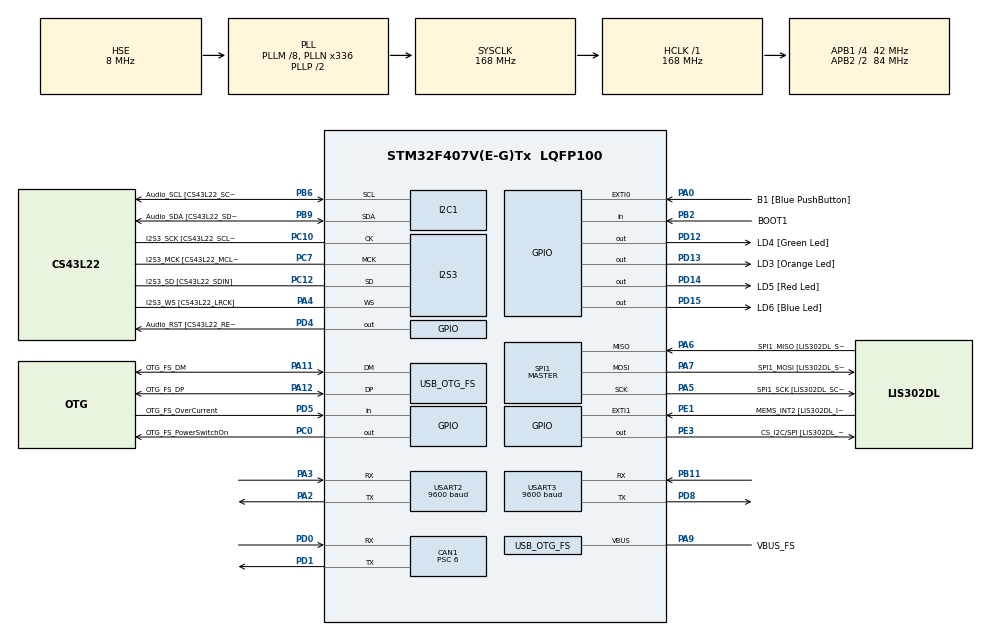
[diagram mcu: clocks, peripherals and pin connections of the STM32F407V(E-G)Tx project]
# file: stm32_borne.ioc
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CAN1.BS1=CAN_BS1_11TQ
CAN1.BS2=CAN_BS2_2TQ
CAN1.CalculateBaudRate=500000
CAN1.CalculateTimeBit=2000
CAN1.CalculateTimeQuantum=142.85714285714286
CAN1.Mode=CAN_MODE_NORMAL
CAN1.Prescaler=6
I2S3.AudioFreq-Half_Duplex_Master=I2S_AUDIOFREQ_96K
I2S3.ErrorAudioFreq=-2.34 %
I2S3.ErrorAudioFreq-Half_Duplex_Master=0.8 %
I2S3.FullDuplexMode=I2S_FULLDUPLEXMODE_DISABLE
I2S3.Instance=SPI$Index
I2S3.RealAudioFreq=93.75 KHz
I2S3.RealAudioFreq-Half_Duplex_Master=96.774 KHz
I2S3.VirtualMode=I2S_MODE_MASTER
Mcu.Family=STM32F4
Mcu.Name=STM32F407V(E-G)Tx
Mcu.Package=LQFP100
NVIC.CAN1_RX0_IRQn=true\:0\:0\:false\:false\:true\:true\:true\:true
NVIC.OTG_FS_IRQn=true\:0\:0\:false\:false\:true\:true\:true\:true
NVIC.PriorityGroup=NVIC_PRIORITYGROUP_0
NVIC.USART2_IRQn=true\:0\:0\:false\:false\:true\:true\:true\:true
NVIC.USART3_IRQn=true\:0\:0\:false\:false\:true\:true\:true\:true
PA0-WKUP.GPIO_Label=B1 [Blue PushButton]
PA0-WKUP.GPIO_ModeDefaultEXTI=GPIO_MODE_EVT_RISING
PA0-WKUP.GPIO_PuPd=GPIO_NOPULL
PA0-WKUP.Signal=GPXTI0
PA10.GPIO_Label=OTG_FS_ID
PA10.GPIO_Mode=GPIO_MODE_AF_PP
PA10.GPIO_PuPd=GPIO_NOPULL
PA10.GPIO_Speed=GPIO_SPEED_FREQ_LOW
PA10.Signal=USB_OTG_FS_ID
PA11.GPIO_Label=OTG_FS_DM
PA11.GPIO_Mode=GPIO_MODE_AF_PP
PA11.GPIO_PuPd=GPIO_NOPULL
PA11.GPIO_Speed=GPIO_SPEED_FREQ_LOW
PA11.Mode=Host_Only
PA11.Signal=USB_OTG_FS_DM
PA12.GPIO_Label=OTG_FS_DP
PA12.GPIO_Mode=GPIO_MODE_AF_PP
PA12.GPIO_PuPd=GPIO_NOPULL
PA12.GPIO_Speed=GPIO_SPEED_FREQ_LOW
PA12.Mode=Host_Only
PA12.Signal=USB_OTG_FS_DP
PA13.GPIO_Label=SWDIO
PA13.Mode=Serial_Wire
PA13.Signal=SYS_JTMS-SWDIO
PA14.GPIO_Label=SWCLK
PA14.Mode=Serial_Wire
PA14.Signal=SYS_JTCK-SWCLK
PA2.Mode=Asynchronous
PA2.Signal=USART2_TX
PA3.Mode=Asynchronous
PA3.Signal=USART2_RX
PA4.GPIO_Label=I2S3_WS [CS43L22_LRCK]
PA4.GPIO_Mode=GPIO_MODE_AF_PP
PA4.GPIO_PuPd=GPIO_NOPULL
PA4.GPIO_Speed=GPIO_SPEED_FREQ_LOW
PA4.Mode=Half_Duplex_Master
PA4.Signal=I2S3_WS
PA5.GPIO_Label=SPI1_SCK [LIS302DL_SCL/SPC]
PA5.GPIO_Mode=GPIO_MODE_AF_PP
PA5.GPIO_PuPd=GPIO_NOPULL
PA5.GPIO_Speed=GPIO_SPEED_FREQ_LOW
PA5.Mode=Full_Duplex_Master
PA5.Signal=SPI1_SCK
PA6.GPIO_Label=SPI1_MISO [LIS302DL_SDO]
PA6.GPIO_Mode=GPIO_MODE_AF_PP
PA6.GPIO_PuPd=GPIO_NOPULL
PA6.GPIO_Speed=GPIO_SPEED_FREQ_LOW
PA6.Mode=Full_Duplex_Master
PA6.Signal=SPI1_MISO
PA7.GPIO_Label=SPI1_MOSI [LIS302DL_SDA/SDI/SDO]
PA7.GPIO_Mode=GPIO_MODE_AF_PP
PA7.GPIO_PuPd=GPIO_NOPULL
PA7.GPIO_Speed=GPIO_SPEED_FREQ_LOW
PA7.Mode=Full_Duplex_Master
PA7.Signal=SPI1_MOSI
PA9.GPIO_Label=VBUS_FS
PA9.GPIO_Mode=GPIO_MODE_INPUT
PA9.GPIO_PuPd=GPIO_NOPULL
PA9.Mode=Activate_VBUS
PA9.Signal=USB_OTG_FS_VBUS
PB10.GPIO_Label=CLK_IN [MP45DT02_CLK]
PB10.GPIO_Mode=GPIO_MODE_AF_PP
PB10.GPIO_PuPd=GPIO_NOPULL
PB10.GPIO_Speed=GPIO_SPEED_FREQ_LOW
PB10.Signal=I2S2_CK
PB11.Mode=Asynchronous
PB11.Signal=USART3_RX
PB2.GPIO_Label=BOOT1
PB2.GPIO_Mode=GPIO_MODE_INPUT
PB2.GPIO_PuPd=GPIO_NOPULL
PB2.Signal=GPIO_Input
PB3.GPIO_Label=SWO
PB3.Signal=SYS_JTDO-SWO
PB6.GPIO_Label=Audio_SCL [CS43L22_SCL]
PB6.GPIO_Mode=GPIO_MODE_AF_OD
PB6.GPIO_Pu=GPIO_PULLUP
PB6.GPIO_PuPd=GPIO_NOPULL
PB6.GPIO_Speed=GPIO_SPEED_FREQ_LOW
PB6.Mode=I2C
PB6.Signal=I2C1_SCL
PB9.GPIO_Label=Audio_SDA [CS43L22_SDA]
PB9.GPIO_Mode=GPIO_MODE_AF_OD
PB9.GPIO_Pu=GPIO_PULLUP
PB9.GPIO_PuPd=GPIO_NOPULL
PB9.GPIO_Speed=GPIO_SPEED_FREQ_LOW
PB9.Mode=I2C
PB9.Signal=I2C1_SDA
PC0.GPIO_Label=OTG_FS_PowerSwitchOn
PC0.GPIO_PuPd=GPIO_NOPULL
PC0.GPIO_Speed=GPIO_SPEED_FREQ_LOW
PC0.PinState=GPIO_PIN_SET
PC0.Signal=GPIO_Output
PC10.GPIO_Label=I2S3_SCK [CS43L22_SCLK]
PC10.GPIO_Mode=GPIO_MODE_AF_PP
PC10.GPIO_PuPd=GPIO_NOPULL
PC10.GPIO_Speed=GPIO_SPEED_FREQ_LOW
PC10.Mode=Half_Duplex_Master
PC10.Signal=I2S3_CK
PC12.GPIO_Label=I2S3_SD [CS43L22_SDIN]
PC12.GPIO_Mode=GPIO_MODE_AF_PP
PC12.GPIO_PuPd=GPIO_NOPULL
PC12.GPIO_Speed=GPIO_SPEED_FREQ_LOW
PC12.Mode=Half_Duplex_Master
PC12.Signal=I2S3_SD
PC14-OSC32_IN.GPIO_Label=PC14-OSC32_IN
PC14-OSC32_IN.Mode=LSE-External-Oscillator
PC14-OSC32_IN.Signal=RCC_OSC32_IN
PC15-OSC32_OUT.GPIO_Label=PC15-OSC32_OUT
PC15-OSC32_OUT.Mode=LSE-External-Oscillator
PC15-OSC32_OUT.Signal=RCC_OSC32_OUT
PC3.GPIO_Label=PDM_OUT [MP45DT02_DOUT]
PC3.GPIO_Mode=GPIO_MODE_AF_PP
PC3.GPIO_PuPd=GPIO_NOPULL
PC3.GPIO_Speed=GPIO_SPEED_FREQ_LOW
PC3.Signal=I2S2_SD
PC7.GPIO_Label=I2S3_MCK [CS43L22_MCLK]
PC7.GPIO_Mode=GPIO_MODE_AF_PP
PC7.GPIO_PuPd=GPIO_NOPULL
PC7.GPIO_Speed=GPIO_SPEED_FREQ_LOW
PC7.Mode=Master_Clock_Activated
PC7.Signal=I2S3_MCK
PD0.Mode=CAN_Activate
PD0.Signal=CAN1_RX
PD1.Mode=CAN_Activate
PD1.Signal=CAN1_TX
PD12.GPIO_Label=LD4 [Green Led]
PD12.GPIO_PuPd=GPIO_NOPULL
PD12.GPIO_Speed=GPIO_SPEED_FREQ_LOW
PD12.Signal=GPIO_Output
PD13.GPIO_Label=LD3 [Orange Led]
PD13.GPIO_PuPd=GPIO_NOPULL
PD13.GPIO_Speed=GPIO_SPEED_FREQ_LOW
PD13.Signal=GPIO_Output
PD14.GPIO_Label=LD5 [Red Led]
PD14.GPIO_PuPd=GPIO_NOPULL
PD14.GPIO_Speed=GPIO_SPEED_FREQ_LOW
PD14.Signal=GPIO_Output
PD15.GPIO_Label=LD6 [Blue Led]
PD15.GPIO_PuPd=GPIO_NOPULL
PD15.GPIO_Speed=GPIO_SPEED_FREQ_LOW
PD15.Signal=GPIO_Output
PD4.GPIO_Label=Audio_RST [CS43L22_RESET]
PD4.GPIO_PuPd=GPIO_NOPULL
PD4.GPIO_Speed=GPIO_SPEED_FREQ_LOW
PD4.Signal=GPIO_Output
PD5.GPIO_Label=OTG_FS_OverCurrent
PD5.GPIO_Mode=GPIO_MODE_INPUT
PD5.GPIO_PuPd=GPIO_NOPULL
PD5.Signal=GPIO_Input
PD8.Mode=Asynchronous
PD8.Signal=USART3_TX
PE1.GPIO_Label=MEMS_INT2 [LIS302DL_INT2]
PE1.GPIO_ModeDefaultEXTI=GPIO_MODE_EVT_RISING
PE1.GPIO_PuPd=GPIO_NOPULL
PE1.Signal=GPXTI1
PE3.GPIO_Label=CS_I2C/SPI [LIS302DL_CS_I2C/SPI]
PE3.GPIO_PuPd=GPIO_NOPULL
PE3.GPIO_Speed=GPIO_SPEED_FREQ_LOW
PE3.Signal=GPIO_Output
PH0-OSC_IN.GPIO_Label=PH0-OSC_IN
PH0-OSC_IN.Mode=HSE-External-Oscillator
PH0-OSC_IN.Signal=RCC_OSC_IN
PH1-OSC_OUT.GPIO_Label=PH1-OSC_OUT
PH1-OSC_OUT.Mode=HSE-External-Oscillator
PH1-OSC_OUT.Signal=RCC_OSC_OUT
ProjectManager.HeapSize=0x200
ProjectManager.StackSize=0x400
ProjectManager.TargetToolchain=STM32CubeIDE
RCC.48MHZClocksFreq_Value=48000000
RCC.AHBFreq_Value=168000000
RCC.APB1CLKDivider=RCC_HCLK_DIV4
RCC.APB1Freq_Value=42000000
RCC.APB1TimFreq_Value=84000000
RCC.APB2CLKDivider=RCC_HCLK_DIV2
RCC.APB2Freq_Value=84000000
RCC.APB2TimFreq_Value=168000000
RCC.CortexFreq_Value=168000000
RCC.HCLKFreq_Value=168000000
RCC.HSE_VALUE=8000000
RCC.HSI_VALUE=16000000
RCC.PLLM=8
RCC.PLLN=336
RCC.PLLQ=7
RCC.SYSCLKFreq_VALUE=168000000
RCC.SYSCLKSource=RCC_SYSCLKSOURCE_PLLCLK
RCC.VCOOutputFreq_Value=336000000
SPI1.BaudRatePrescaler-Full_Duplex_Master=SPI_BAUDRATEPRESCALER_2
SPI1.CalculateBaudRate-Full_Duplex_Master=42.0 MBits/s
SPI1.Direction=SPI_DIRECTION_2LINES
SPI1.Mode=SPI_MODE_MASTER
SPI1.Mode-Full_Duplex_Master=SPI_MODE_MASTER
SPI1.VirtualType=VM_MASTER
USART2.BaudRate=9600
USART2.VirtualMode=VM_ASYNC
USART3.BaudRate=9600
USART3.VirtualMode=VM_ASYNC
USB_HOST.BSP.number=1
USB_HOST.USBH_HandleTypeDef-CDC_FS=hUsbHostFS
USB_HOST.VirtualModeFS=Cdc
USB_HOST0.BSP.STBoard=false
USB_HOST0.BSP.api=Unknown
USB_HOST0.BSP.instance=PC0
USB_HOST0.BSP.ip=GPIO
USB_HOST0.BSP.mode=Output
USB_HOST0.BSP.name=Drive_VBUS_FS
USB_HOST0.BSP.solution=PC0
USB_OTG_FS.VirtualMode=Host_Only
USB_OTG_FS.phy_itface=HCD_PHY_EMBEDDED
VP_USB_HOST_VS_USB_HOST_CDC_FS.Mode=CDC_FS
board=STM32F407G-DISC1

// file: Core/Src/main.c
/* USER CODE BEGIN Header */
/**
  ******************************************************************************
  * @file           : main.c
  * @brief          : Main program body
  ******************************************************************************
  * @attention
  *
  * Copyright (c) 2026 STMicroelectronics.
  * All rights reserved.
  *
  * This software is licensed under terms that can be found in the LICENSE file
  * in the root directory of this software component.
  * If no LICENSE file comes with this software, it is provided AS-IS.
  *
  ******************************************************************************
  */
/* USER CODE END Header */
#include "main.h"
#include "usb_host.h"
#include <stdbool.h>
#include <stdio.h>
#include <string.h>
#include "escpos.h"
#include "impression.h"
#include "can_borne.h"

CAN_HandleTypeDef hcan1;

I2C_HandleTypeDef hi2c1;

I2S_HandleTypeDef hi2s3;

SPI_HandleTypeDef hspi1;

UART_HandleTypeDef huart2;
UART_HandleTypeDef huart3;

void SystemClock_Config(void);
static void MX_GPIO_Init(void);
static void MX_I2C1_Init(void);
static void MX_I2S3_Init(void);
static void MX_SPI1_Init(void);
static void MX_CAN1_Init(void);
static void MX_USART3_UART_Init(void);
static void MX_USART2_UART_Init(void);
void MX_USB_HOST_Process(void);

/* USER CODE BEGIN 0 */

/* Envoie un message texte vers la console de débogage (USART2 → PuTTY).
 * Si un billet est en cours d'envoi sur USART2 (essais sans imprimante),
 * on attend la fin de l'envoi (max 500 ms) pour ne pas perdre le message. */
static void debug(const char *texte)
{
    uint32_t t0 = HAL_GetTick();
    while (huart2.gState != HAL_UART_STATE_READY && (HAL_GetTick() - t0) < 3000u)
    {
    }
    HAL_UART_Transmit(&huart2, (const uint8_t *)texte, strlen(texte), 100);
}
/* USER CODE END 0 */

int main(void)
{

  /* MCU Configuration--------------------------------------------------------*/

  /* Reset of all peripherals, Initializes the Flash interface and the Systick. */
  HAL_Init();

  /* Configure the system clock */
  SystemClock_Config();

  /* Initialize all configured peripherals */
  MX_GPIO_Init();
  MX_I2C1_Init();
  MX_I2S3_Init();
  MX_SPI1_Init();
  MX_USB_HOST_Init();
  MX_CAN1_Init();
  MX_USART3_UART_Init();
  MX_USART2_UART_Init();
  /* USER CODE BEGIN 2 */
  Impression_Init();
  /* Démarrage du service CAN (mode loopback pour les essais sans RPi) */
  if (CanBorne_Init(&hcan1))
  {
      debug("\r\nCAN pret (loopback). Appuyer sur le bouton bleu.\r\n");
  }
  else
  {
      debug("\r\nERREUR : initialisation CAN\r\n");
  }

  /* USER CODE END 2 */

  /* Infinite loop */
  while (1)
  {
    MX_USB_HOST_Process();

    /* USER CODE BEGIN 3 */

    /* 1) Bouton bleu : chaque appui simule le RPi avec un scénario de test */
        static GPIO_PinState bouton_avant = GPIO_PIN_RESET;
        static uint8_t scenario = 0;
        static uint8_t sequence = 0;
        static uint8_t derniere_cmd[8];    /* paire du scénario 1, pour la répétition */
        static uint8_t derniere_date[7];
        static bool paire2_a_envoyer = false;   /* scénario 7 : 2e demande différée */

        GPIO_PinState bouton = HAL_GPIO_ReadPin(B1_GPIO_Port, B1_Pin);
        if (bouton == GPIO_PIN_SET && bouton_avant == GPIO_PIN_RESET)   /* front montant */
        {
            sequence++;   /* nouvelle séquence à chaque demande, comme le ferait le RPi */

            /* Transaction 123456 (40 E2 01 00), place 12 = E2.5 ; 2026-11-19 13:45:07 */
            uint8_t cmd[8]  = { sequence, 0x01, 0x40, 0xE2, 0x01, 0x00, 12, 0x00 };
            uint8_t date[7] = { sequence, 26, 11, 19, 13, 45, 7 };

            switch (scenario)
            {
                case 0:
                    debug("\r\n=== Scenario 1 : paire valide ===\r\n");
                    memcpy(derniere_cmd, cmd, 8);
                    memcpy(derniere_date, date, 7);
                    CanBorne_Envoyer(CAN_ID_IMPRESSION_CMD, cmd, 8);
                    CanBorne_Envoyer(CAN_ID_IMPRESSION_DATE, date, 7);
                    break;
                case 1:
                    debug("\r\n=== Scenario 2 : repetition du scenario 1 (pas de 2e billet) ===\r\n");
                    CanBorne_Envoyer(CAN_ID_IMPRESSION_CMD, derniere_cmd, 8);
                    CanBorne_Envoyer(CAN_ID_IMPRESSION_DATE, derniere_date, 7);
                    break;
                case 2:
                    debug("\r\n=== Scenario 3 : 0x361 manquante ===\r\n");
                    CanBorne_Envoyer(CAN_ID_IMPRESSION_CMD, cmd, 8);
                    break;
                case 3:
                    debug("\r\n=== Scenario 4 : sequences differentes ===\r\n");
                    date[0] = (uint8_t)(sequence + 100u);
                    CanBorne_Envoyer(CAN_ID_IMPRESSION_CMD, cmd, 8);
                    CanBorne_Envoyer(CAN_ID_IMPRESSION_DATE, date, 7);
                    break;
                case 4:
                    debug("\r\n=== Scenario 5 : place invalide (15) ===\r\n");
                    cmd[6] = 15;
                    CanBorne_Envoyer(CAN_ID_IMPRESSION_CMD, cmd, 8);
                    CanBorne_Envoyer(CAN_ID_IMPRESSION_DATE, date, 7);
                    break;
                case 5:
                    debug("\r\n=== Scenario 6 : date invalide (30 fevrier) ===\r\n");
                    date[2] = 2;
                    date[3] = 30;
                    CanBorne_Envoyer(CAN_ID_IMPRESSION_CMD, cmd, 8);
                    CanBorne_Envoyer(CAN_ID_IMPRESSION_DATE, date, 7);
                    break;
                case 6:
                    debug("\r\n=== Scenario 7 : imprimante occupee ===\r\n");
                    CanBorne_Envoyer(CAN_ID_IMPRESSION_CMD, cmd, 8);
                    CanBorne_Envoyer(CAN_ID_IMPRESSION_DATE, date, 7);
                    paire2_a_envoyer = true;   /* envoyée dès que l'impression a commencé */
                    break;
                default:
                    debug("\r\n=== Scenario 8 : repetition pendant l'envoi ===\r\n");
                    CanBorne_Envoyer(CAN_ID_IMPRESSION_CMD, cmd, 8);
                    CanBorne_Envoyer(CAN_ID_IMPRESSION_DATE, date, 7);
                    CanBorne_Envoyer(CAN_ID_IMPRESSION_CMD, cmd, 8);   /* répétée */
                    break;
            }
            scenario = (uint8_t)((scenario + 1u) % 8u);
        }
        bouton_avant = bouton;
    /* 2) Lecture des trames reçues et répartition vers les modules */
    TrameCan trame;
    while (CanBorne_Recevoir(&trame))
    {
        /* Affichage de la trame en hexadécimal dans PuTTY */
        char texte[80];
        int n = snprintf(texte, sizeof(texte), "Recu ID 0x%03X DLC %u :",
                         trame.id, trame.dlc);
        for (uint8_t i = 0; i < trame.dlc; i++)
        {
            n += snprintf(&texte[n], sizeof(texte) - n, " %02X", trame.data[i]);
        }
        snprintf(&texte[n], sizeof(texte) - n, "\r\n");
        debug(texte);

        if (trame.id == CAN_ID_IMPRESSION_CMD)
        {
            Impression_TraiterCommandeCAN(trame.data, trame.dlc);
        }
        else if (trame.id == CAN_ID_IMPRESSION_DATE)
        {
            Impression_TraiterDateCAN(trame.data, trame.dlc);
        }
        /* 0x230 : notre propre réponse, reçue grâce au loopback (affichage seulement) */
    }

    /* 3) Délai d'appariement de T05 */
    Impression_Task();
    /* Scénario 7 : 2e demande envoyée PENDANT l'impression de la 1re */
    if (paire2_a_envoyer && Impression_EstOccupee())
    {
        paire2_a_envoyer = false;
        sequence++;
        /* Transaction 123457 (41 E2 01 00), place 3 */
        uint8_t cmd2[8]  = { sequence, 0x01, 0x41, 0xE2, 0x01, 0x00, 3, 0x00 };
        uint8_t date2[7] = { sequence, 26, 11, 19, 13, 45, 8 };
        CanBorne_Envoyer(CAN_ID_IMPRESSION_CMD, cmd2, 8);
        CanBorne_Envoyer(CAN_ID_IMPRESSION_DATE, date2, 7);
    }
  }
  /* USER CODE END 3 */
}

void SystemClock_Config(void)
{
  RCC_OscInitTypeDef RCC_OscInitStruct = {0};
  RCC_ClkInitTypeDef RCC_ClkInitStruct = {0};

  /** Configure the main internal regulator output voltage
  */
  __HAL_RCC_PWR_CLK_ENABLE();
  __HAL_PWR_VOLTAGESCALING_CONFIG(PWR_REGULATOR_VOLTAGE_SCALE1);

  /** Initializes the RCC Oscillators according to the specified parameters
  * in the RCC_OscInitTypeDef structure.
  */
  RCC_OscInitStruct.OscillatorType = RCC_OSCILLATORTYPE_HSE;
  RCC_OscInitStruct.HSEState = RCC_HSE_ON;
  RCC_OscInitStruct.PLL.PLLState = RCC_PLL_ON;
  RCC_OscInitStruct.PLL.PLLSource = RCC_PLLSOURCE_HSE;
  RCC_OscInitStruct.PLL.PLLM = 8;
  RCC_OscInitStruct.PLL.PLLN = 336;
  RCC_OscInitStruct.PLL.PLLP = RCC_PLLP_DIV2;
  RCC_OscInitStruct.PLL.PLLQ = 7;
  if (HAL_RCC_OscConfig(&RCC_OscInitStruct) != HAL_OK)
  {
    Error_Handler();
  }

  /** Initializes the CPU, AHB and APB buses clocks
  */
  RCC_ClkInitStruct.ClockType = RCC_CLOCKTYPE_HCLK|RCC_CLOCKTYPE_SYSCLK
                              |RCC_CLOCKTYPE_PCLK1|RCC_CLOCKTYPE_PCLK2;
  RCC_ClkInitStruct.SYSCLKSource = RCC_SYSCLKSOURCE_PLLCLK;
  RCC_ClkInitStruct.AHBCLKDivider = RCC_SYSCLK_DIV1;
  RCC_ClkInitStruct.APB1CLKDivider = RCC_HCLK_DIV4;
  RCC_ClkInitStruct.APB2CLKDivider = RCC_HCLK_DIV2;

  if (HAL_RCC_ClockConfig(&RCC_ClkInitStruct, FLASH_LATENCY_5) != HAL_OK)
  {
    Error_Handler();
  }
}

static void MX_CAN1_Init(void)
{

  hcan1.Instance = CAN1;
  hcan1.Init.Prescaler = 6;
  hcan1.Init.Mode = CAN_MODE_NORMAL;
  hcan1.Init.SyncJumpWidth = CAN_SJW_1TQ;
  hcan1.Init.TimeSeg1 = CAN_BS1_11TQ;
  hcan1.Init.TimeSeg2 = CAN_BS2_2TQ;
  hcan1.Init.TimeTriggeredMode = DISABLE;
  hcan1.Init.AutoBusOff = DISABLE;
  hcan1.Init.AutoWakeUp = DISABLE;
  hcan1.Init.AutoRetransmission = DISABLE;
  hcan1.Init.ReceiveFifoLocked = DISABLE;
  hcan1.Init.TransmitFifoPriority = DISABLE;
  if (HAL_CAN_Init(&hcan1) != HAL_OK)
  {
    Error_Handler();
  }

}

static void MX_I2C1_Init(void)
{

  hi2c1.Instance = I2C1;
  hi2c1.Init.ClockSpeed = 100000;
  hi2c1.Init.DutyCycle = I2C_DUTYCYCLE_2;
  hi2c1.Init.OwnAddress1 = 0;
  hi2c1.Init.AddressingMode = I2C_ADDRESSINGMODE_7BIT;
  hi2c1.Init.DualAddressMode = I2C_DUALADDRESS_DISABLE;
  hi2c1.Init.OwnAddress2 = 0;
  hi2c1.Init.GeneralCallMode = I2C_GENERALCALL_DISABLE;
  hi2c1.Init.NoStretchMode = I2C_NOSTRETCH_DISABLE;
  if (HAL_I2C_Init(&hi2c1) != HAL_OK)
  {
    Error_Handler();
  }

}

static void MX_I2S3_Init(void)
{

  hi2s3.Instance = SPI3;
  hi2s3.Init.Mode = I2S_MODE_MASTER_TX;
  hi2s3.Init.Standard = I2S_STANDARD_PHILIPS;
  hi2s3.Init.DataFormat = I2S_DATAFORMAT_16B;
  hi2s3.Init.MCLKOutput = I2S_MCLKOUTPUT_ENABLE;
  hi2s3.Init.AudioFreq = I2S_AUDIOFREQ_96K;
  hi2s3.Init.CPOL = I2S_CPOL_LOW;
  hi2s3.Init.ClockSource = I2S_CLOCK_PLL;
  hi2s3.Init.FullDuplexMode = I2S_FULLDUPLEXMODE_DISABLE;
  if (HAL_I2S_Init(&hi2s3) != HAL_OK)
  {
    Error_Handler();
  }

}

static void MX_SPI1_Init(void)
{

  /* SPI1 parameter configuration*/
  hspi1.Instance = SPI1;
  hspi1.Init.Mode = SPI_MODE_MASTER;
  hspi1.Init.Direction = SPI_DIRECTION_2LINES;
  hspi1.Init.DataSize = SPI_DATASIZE_8BIT;
  hspi1.Init.CLKPolarity = SPI_POLARITY_LOW;
  hspi1.Init.CLKPhase = SPI_PHASE_1EDGE;
  hspi1.Init.NSS = SPI_NSS_SOFT;
  hspi1.Init.BaudRatePrescaler = SPI_BAUDRATEPRESCALER_2;
  hspi1.Init.FirstBit = SPI_FIRSTBIT_MSB;
  hspi1.Init.TIMode = SPI_TIMODE_DISABLE;
  hspi1.Init.CRCCalculation = SPI_CRCCALCULATION_DISABLE;
  hspi1.Init.CRCPolynomial = 10;
  if (HAL_SPI_Init(&hspi1) != HAL_OK)
  {
    Error_Handler();
  }

}

static void MX_USART2_UART_Init(void)
{

  huart2.Instance = USART2;
  huart2.Init.BaudRate = 9600;
  huart2.Init.WordLength = UART_WORDLENGTH_8B;
  huart2.Init.StopBits = UART_STOPBITS_1;
  huart2.Init.Parity = UART_PARITY_NONE;
  huart2.Init.Mode = UART_MODE_TX_RX;
  huart2.Init.HwFlowCtl = UART_HWCONTROL_NONE;
  huart2.Init.OverSampling = UART_OVERSAMPLING_16;
  if (HAL_UART_Init(&huart2) != HAL_OK)
  {
    Error_Handler();
  }

}

static void MX_USART3_UART_Init(void)
{

  huart3.Instance = USART3;
  huart3.Init.BaudRate = 9600;
  huart3.Init.WordLength = UART_WORDLENGTH_8B;
  huart3.Init.StopBits = UART_STOPBITS_1;
  huart3.Init.Parity = UART_PARITY_NONE;
  huart3.Init.Mode = UART_MODE_TX_RX;
  huart3.Init.HwFlowCtl = UART_HWCONTROL_NONE;
  huart3.Init.OverSampling = UART_OVERSAMPLING_16;
  if (HAL_UART_Init(&huart3) != HAL_OK)
  {
    Error_Handler();
  }

}

static void MX_GPIO_Init(void)
{
  GPIO_InitTypeDef GPIO_InitStruct = {0};

  /* GPIO Ports Clock Enable */
  __HAL_RCC_GPIOE_CLK_ENABLE();
  __HAL_RCC_GPIOC_CLK_ENABLE();
  __HAL_RCC_GPIOH_CLK_ENABLE();
  __HAL_RCC_GPIOA_CLK_ENABLE();
  __HAL_RCC_GPIOB_CLK_ENABLE();
  __HAL_RCC_GPIOD_CLK_ENABLE();

  /*Configure GPIO pin Output Level */
  HAL_GPIO_WritePin(CS_I2C_SPI_GPIO_Port, CS_I2C_SPI_Pin, GPIO_PIN_RESET);

  /*Configure GPIO pin Output Level */
  HAL_GPIO_WritePin(OTG_FS_PowerSwitchOn_GPIO_Port, OTG_FS_PowerSwitchOn_Pin, GPIO_PIN_SET);

  /*Configure GPIO pin Output Level */
  HAL_GPIO_WritePin(GPIOD, LD4_Pin|LD3_Pin|LD5_Pin|LD6_Pin
                          |Audio_RST_Pin, GPIO_PIN_RESET);

  /*Configure GPIO pin : CS_I2C_SPI_Pin */
  GPIO_InitStruct.Pin = CS_I2C_SPI_Pin;
  GPIO_InitStruct.Mode = GPIO_MODE_OUTPUT_PP;
  GPIO_InitStruct.Pull = GPIO_NOPULL;
  GPIO_InitStruct.Speed = GPIO_SPEED_FREQ_LOW;
  HAL_GPIO_Init(CS_I2C_SPI_GPIO_Port, &GPIO_InitStruct);

  /*Configure GPIO pin : OTG_FS_PowerSwitchOn_Pin */
  GPIO_InitStruct.Pin = OTG_FS_PowerSwitchOn_Pin;
  GPIO_InitStruct.Mode = GPIO_MODE_OUTPUT_PP;
  GPIO_InitStruct.Pull = GPIO_NOPULL;
  GPIO_InitStruct.Speed = GPIO_SPEED_FREQ_LOW;
  HAL_GPIO_Init(OTG_FS_PowerSwitchOn_GPIO_Port, &GPIO_InitStruct);

  /*Configure GPIO pin : PDM_OUT_Pin */
  GPIO_InitStruct.Pin = PDM_OUT_Pin;
  GPIO_InitStruct.Mode = GPIO_MODE_AF_PP;
  GPIO_InitStruct.Pull = GPIO_NOPULL;
  GPIO_InitStruct.Speed = GPIO_SPEED_FREQ_LOW;
  GPIO_InitStruct.Alternate = GPIO_AF5_SPI2;
  HAL_GPIO_Init(PDM_OUT_GPIO_Port, &GPIO_InitStruct);

  /*Configure GPIO pin : B1_Pin */
  GPIO_InitStruct.Pin = B1_Pin;
  GPIO_InitStruct.Mode = GPIO_MODE_EVT_RISING;
  GPIO_InitStruct.Pull = GPIO_NOPULL;
  HAL_GPIO_Init(B1_GPIO_Port, &GPIO_InitStruct);

  /*Configure GPIO pin : BOOT1_Pin */
  GPIO_InitStruct.Pin = BOOT1_Pin;
  GPIO_InitStruct.Mode = GPIO_MODE_INPUT;
  GPIO_InitStruct.Pull = GPIO_NOPULL;
  HAL_GPIO_Init(BOOT1_GPIO_Port, &GPIO_InitStruct);

  /*Configure GPIO pin : CLK_IN_Pin */
  GPIO_InitStruct.Pin = CLK_IN_Pin;
  GPIO_InitStruct.Mode = GPIO_MODE_AF_PP;
  GPIO_InitStruct.Pull = GPIO_NOPULL;
  GPIO_InitStruct.Speed = GPIO_SPEED_FREQ_LOW;
  GPIO_InitStruct.Alternate = GPIO_AF5_SPI2;
  HAL_GPIO_Init(CLK_IN_GPIO_Port, &GPIO_InitStruct);

  /*Configure GPIO pins : LD4_Pin LD3_Pin LD5_Pin LD6_Pin
                           Audio_RST_Pin */
  GPIO_InitStruct.Pin = LD4_Pin|LD3_Pin|LD5_Pin|LD6_Pin
                          |Audio_RST_Pin;
  GPIO_InitStruct.Mode = GPIO_MODE_OUTPUT_PP;
  GPIO_InitStruct.Pull = GPIO_NOPULL;
  GPIO_InitStruct.Speed = GPIO_SPEED_FREQ_LOW;
  HAL_GPIO_Init(GPIOD, &GPIO_InitStruct);

  /*Configure GPIO pin : OTG_FS_OverCurrent_Pin */
  GPIO_InitStruct.Pin = OTG_FS_OverCurrent_Pin;
  GPIO_InitStruct.Mode = GPIO_MODE_INPUT;
  GPIO_InitStruct.Pull = GPIO_NOPULL;
  HAL_GPIO_Init(OTG_FS_OverCurrent_GPIO_Port, &GPIO_InitStruct);

  /*Configure GPIO pin : MEMS_INT2_Pin */
  GPIO_InitStruct.Pin = MEMS_INT2_Pin;
  GPIO_InitStruct.Mode = GPIO_MODE_EVT_RISING;
  GPIO_InitStruct.Pull = GPIO_NOPULL;
  HAL_GPIO_Init(MEMS_INT2_GPIO_Port, &GPIO_InitStruct);

}

void Error_Handler(void)
{
  __disable_irq();
  while (1)
  {
  }
}
